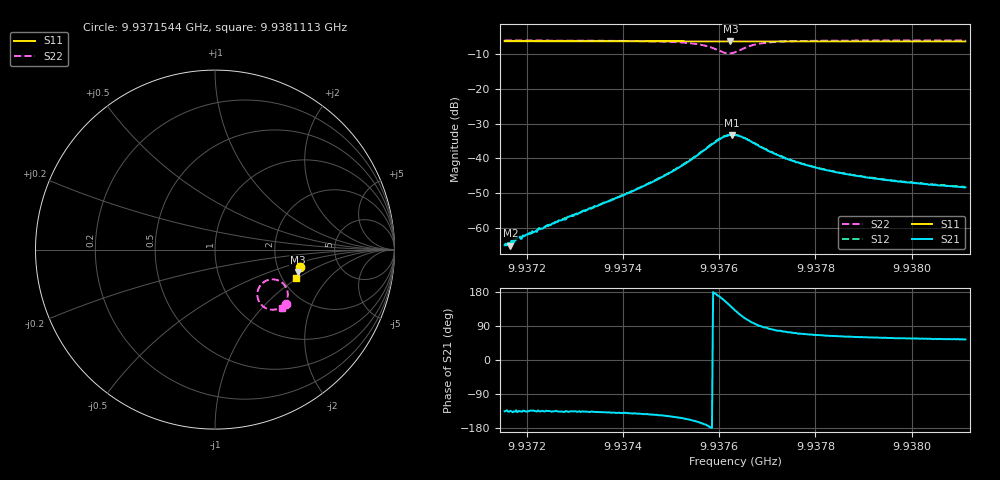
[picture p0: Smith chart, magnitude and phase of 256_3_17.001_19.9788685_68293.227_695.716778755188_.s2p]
#  HZ  S  RI  R  50.00
! Rohde & Schwarz Vector Network Analyzer
! Rohde-Schwarz,ZNB20-2Port,1311601062101988,3.16
! Created: UTC 3/20/2024, 11:03:35 PM
! freq[Hz]  re:S11  im:S11  re:S21  im:S21  re:S12  im:S12  re:S22  im:S22
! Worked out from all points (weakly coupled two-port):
!   401 points, 9.9371544 GHz to 9.9381113 GHz, reference 50 ohm
!   highest |S21| = -33.24 dB at 9.9376257 GHz (marker M1); lowest = -65.1 dB at 9.9371664 GHz (marker M2)
!   lowest |S11| = -6.4 dB at 9.9376233 GHz (marker M3), VSWR 2.84, Z = 126 - j41.7 ohm
!   |S11| at or under -10 dB: nowhere
!   |S22| runs from -9.8 to -6.1 dB; largest |S21 - S12| = 0.001
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9.93715442e9  0.4741 -0.0975  -0.000403 -0.0004  -0.000388 -0.000385  0.3934 -0.3011
9.93716638e9  0.4739 -0.0984  -0.000388 -0.000399  -0.000437 -0.000434  0.3925 -0.302
9.93717117e9  0.4738 -0.0987  -0.000454 -0.000409  -0.000442 -0.000468  0.3922 -0.3023
9.93718074e9  0.4737 -0.0993  -0.000527 -0.000481  -0.000507 -0.000466  0.3914 -0.3031
9.9371927e9  0.4733 -0.1001  -0.000536 -0.000559  -0.000555 -0.000544  0.3905 -0.3039
9.9373147e9  0.4711 -0.1083  -0.00123 -0.0012  -0.00128 -0.00112  0.3787 -0.3142
9.93739842e9  0.4694 -0.114  -0.00222 -0.00187  -0.00227 -0.00188  0.366 -0.323
9.93747497e9  0.4675 -0.1192  -0.00422 -0.00289  -0.00435 -0.00284  0.3451 -0.3319
9.93752521e9  0.4662 -0.1226  -0.00727 -0.00355  -0.00743 -0.00345  0.3179 -0.3351
9.93756827e9  0.4644 -0.1256  -0.0128 -0.00241  -0.013 -0.00222  0.273 -0.3205
9.93760176e9  0.4629 -0.127  -0.0184 0.00449  -0.0189 0.00519  0.2363 -0.257
9.93761372e9  0.4624 -0.1272  -0.0187 0.0093  -0.0188 0.00992  0.242 -0.219
9.93762329e9  0.4623 -0.1273  -0.0172 0.0132  -0.017 0.014  0.2606 -0.1908
9.93762568e9  0.4625 -0.1274  -0.0166 0.0141  -0.0164 0.0149  0.2668 -0.1851
9.93763286e9  0.4625 -0.1274  -0.0142 0.0164  -0.0139 0.0169  0.2881 -0.1723
9.93765917e9  0.4629 -0.1289  -0.00498 0.0178  -0.00447 0.0181  0.3622 -0.1765
9.93768788e9  0.463 -0.131  0.000414 0.0144  0.000716 0.0146  0.3969 -0.2127
9.93773572e9  0.4622 -0.1347  0.00264 0.00997  0.00298 0.00977  0.406 -0.2543
9.93779313e9  0.4611 -0.1387  0.00299 0.00697  0.00314 0.00696  0.4014 -0.2796
9.9378649e9  0.4594 -0.1435  0.0028 0.00523  0.00293 0.00523  0.3941 -0.2965
9.93795341e9  0.457 -0.1493  0.00254 0.00412  0.00264 0.00409  0.3861 -0.3091
9.93811129e9  0.4531 -0.1595  0.00224 0.00311  0.00232 0.00311  0.3745 -0.3238
